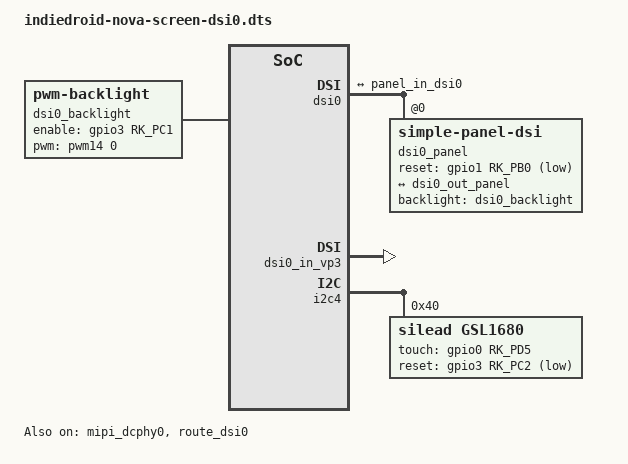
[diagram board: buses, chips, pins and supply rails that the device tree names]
/dts-v1/;
/plugin/;

#include <dt-bindings/interrupt-controller/irq.h>
#include <dt-bindings/gpio/gpio.h>
#include <dt-bindings/pinctrl/rockchip.h>
#include <dt-bindings/display/drm_mipi_dsi.h>

/ {
		metadata {
				title ="Enable Display on DSI0";
				compatible = "9tripod,rk3588s";
				category = "display";
				exclusive = "dsi0", "vp3";
				description = "Enable Display on DSI0";
		};
};

&{/} {
		dsi0_backlight: dsi0-backlight {
				status = "okay";
				compatible = "pwm-backlight";
				pwms = <&pwm14 0 25000 0>;
				brightness-levels = <
						0  20  20  21  21  22  22  23
						23  24  24  25  25  26  26  27
						27  28  28  29  29  30  30  31
						31  32  32  33  33  34  34  35
						35  36  36  37  37  38  38  39
						40  41  42  43  44  45  46  47
						48  49  50  51  52  53  54  55
						56  57  58  59  60  61  62  63
						64  65  66  67  68  69  70  71
						72  73  74  75  76  77  78  79
						80  81  82  83  84  85  86  87
						88  89  90  91  92  93  94  95
						96  97  98  99 100 101 102 103
						104 105 106 107 108 109 110 111
						112 113 114 115 116 117 118 119
						120 121 122 123 124 125 126 127
						128 129 130 131 132 133 134 135
						136 137 138 139 140 141 142 143
						144 145 146 147 148 149 150 151
						152 153 154 155 156 157 158 159
						160 161 162 163 164 165 166 167
						168 169 170 171 172 173 174 175
						176 177 178 179 180 181 182 183
						184 185 186 187 188 189 190 191
						192 193 194 195 196 197 198 199
						200 201 202 203 204 205 206 207
						208 209 210 211 212 213 214 215
						216 217 218 219 220 221 222 223
						224 225 226 227 228 229 230 231
						232 233 234 235 236 237 238 239
						240 241 242 243 244 245 246 247
						248 249 250 251 252 253 254 255
				>;
				default-brightness-level = <200>;
				enable-gpios = <&gpio3 RK_PC1 GPIO_ACTIVE_HIGH>;
				pinctrl-names = "default";
				pinctrl-0 = <&dsi0_backlight_en>;
		};
};

&dsi0 {
		status = "okay";
		//rockchip,lane-rate = <600>;
		#address-cells = <1>;
		#size-cells = <0>;

		dsi0_panel: panel@0 {
				status = "okay";
				compatible = "simple-panel-dsi";
				reg = <0>;
				backlight = <&dsi0_backlight>;

				reset-gpios = <&gpio1 RK_PB0 GPIO_ACTIVE_LOW>;
				pinctrl-names = "default";
				pinctrl-0 = <&dsi0_lcd_rst_gpio>;
				reset-delay-ms = <120>;
				enable-delay-ms = <120>;
				prepare-delay-ms = <120>;
				unprepare-delay-ms = <120>;
				disable-delay-ms = <120>;
				dsi,flags = <(MIPI_DSI_MODE_VIDEO | MIPI_DSI_MODE_VIDEO_BURST |
						MIPI_DSI_MODE_LPM | MIPI_DSI_MODE_EOT_PACKET)>;
				dsi,format = <MIPI_DSI_FMT_RGB888>;
				dsi,lanes  = <4>;

				disp_timings0: display-timings {
						native-mode = <&dsi0_timing0>;
						dsi0_timing0: timing0 {
								clock-frequency = <50000000>;
								hactive = <1024>;
								vactive = <600>;
								hfront-porch = <150>;
								hsync-len = <20>;
								hback-porch = <150>;
								vfront-porch = <8>;
								vsync-len = <3>;
								vback-porch = <24>;
								hsync-active = <1>;
								vsync-active = <1>;
								de-active = <0>;
								pixelclk-active = <1>;
						};
				};

				ports {
						#address-cells = <1>;
						#size-cells = <0>;

						port@0 {
								reg = <0>;
								panel_in_dsi0: endpoint {
										remote-endpoint = <&dsi0_out_panel>;
								};
						};
				};
		};

		ports {
				#address-cells = <1>;
				#size-cells = <0>;

				port@1 {
						reg = <1>;
						dsi0_out_panel: endpoint {
								remote-endpoint = <&panel_in_dsi0>;
						};
				};
		};
};

&mipi_dcphy0 {
		status = "okay";
};

&route_dsi0 {
		status = "okay";
		connect = <&vp3_out_dsi0>;
};

&dsi0_in_vp2 {
		status = "disabled";
};

&dsi0_in_vp3 {
		status = "okay";
};

&i2c4 {
	status = "okay";
	pinctrl-names = "default";
	pinctrl-0 = <&i2c4m3_xfer>;

	gsl1680@40 {
		compatible = "silead,gsl1680";
		reg = <0x40>;
		pinctrl-names = "default";
		pinctrl-0 = <&tp_irq_gpio &tp_rst_gpio>;
		touch-gpio = <&gpio0 RK_PD5 IRQ_TYPE_EDGE_RISING>;
		reset-gpio = <&gpio3 RK_PC2 GPIO_ACTIVE_LOW>;
		max-x = <1024>;
		max-y = <600>;
		status = "okay";
	};
};

&pinctrl {
		dsi0-lcd {
				dsi0_lcd_rst_gpio: dsi0-lcd-rst-gpio {
						rockchip,pins = <1 RK_PB0 RK_FUNC_GPIO &pcfg_pull_none>;
				};

				dsi0_backlight_en: dsi0-backlight-en {
						rockchip,pins = <3 RK_PC1 RK_FUNC_GPIO &pcfg_pull_up>;
				};
		};

		tp_irq {
				tp_irq_gpio: tp-irq-gpio {
					rockchip,pins = <0 RK_PD5 RK_FUNC_GPIO &pcfg_pull_up>;
		};
				tp_rst_gpio: tp-rst-gpio {
					rockchip,pins = <3 RK_PC2 RK_FUNC_GPIO &pcfg_pull_up>;
		};
	};
};
